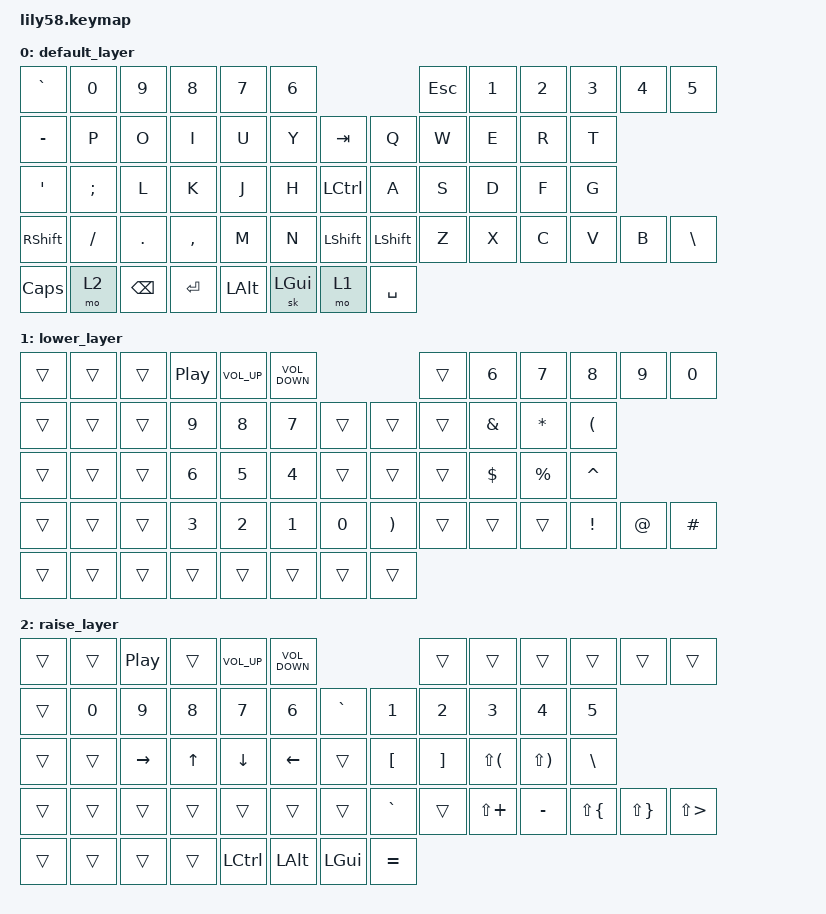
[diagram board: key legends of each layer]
/*
 * Copyright (c) 2020 The ZMK Contributors
 *
 * SPDX-License-Identifier: MIT
 */

#include <behaviors.dtsi>
#include <dt-bindings/zmk/keys.h>

/ {
    keymap {
        compatible = "zmk,keymap";

        default_layer {
            // ------------------------------------------------------------------------------------------------------------
            // |  ESC  |  1  |  2  |  3   |  4   |  5   |                   |  6   |  7    |  8    |  9   |   0   |   `   |
            // |  TAB  |  Q  |  W  |  E   |  R   |  T   |                   |  Y   |  U    |  I    |  O   |   P   |   -   |
            // |  CTRL |  A  |  S  |  D   |  F   |  G   |                   |  H   |  J    |  K    |  L   |   ;   |   '   |
            // | SHIFT |  Z  |  X  |  C   |  V   |  B   |   "["  |  |  "]"  |  N   |  M    |  ,    |  .   |   /   | SHIFT |
            //                     | ALT  | GUI  | LOWER|  SPACE |  | ENTER | RAISE| BSPC  | GUI   |

            bindings = <
                 &kp	GRAVE	&kp	N0	&kp	N9	&kp	N8	&kp	N7	&kp	N6 &kp ESC    &kp N1  &kp N2  &kp N3    &kp N4    &kp N5                 
                 &kp	MINUS	&kp	P	&kp	O	&kp	I	&kp	U	&kp	Y &kp TAB    &kp Q   &kp W   &kp E     &kp R     &kp T                  
                 &kp	SQT	&kp	SEMI	&kp	L	&kp	K	&kp	J	&kp	H &kp LCTRL  &kp A   &kp S   &kp D     &kp F     &kp G                   
                 &kp RSHFT &kp FSLH &kp DOT &kp COMMA &kp M &kp N &kp LEFT_SHIFT &kp LSHFT  &kp Z   &kp X   &kp C     &kp V     &kp B   &kp BACKSLASH  
                                &kp CAPSLOCK &mo 2 &kp BACKSPACE &kp RET &kp LALT  &sk LGUI  &mo 1   &kp SPACE   
            >;
        };

        lower_layer {
            // ------------------------------------------------------------------------------------------------------------
            // | BTCLR | BT1 | BT2 |  BT3 |  BT4 |  BT5 |                   |      |       |       |      |       |       |
            // |  F1   |  F2 |  F3 |  F4  |  F5  |  F6  |                   |  F7  |  F8   |  F9   |  F10 |  F11  |  F12  |
            // |   `   |  !  |  @  |  #   |  $   |  %   |                   |  ^   |  &    |  *    |  (   |   )   |   ~   |
            // |       |     |     |      |      |      |        |  |       |      |  _    |  +    |  {   |   }   |  "|"  |
            //                     |      |      |      |        |  |       |      |       |       |

            bindings = <
&trans &trans &trans &kp C_PLAY_PAUSE &kp C_VOLUME_UP &kp C_VOLUME_DOWN &trans  &kp NUMBER_6  &kp N7  &kp N8      &kp N9        &kp N0 
&trans &trans &trans &kp N9 &kp N8 &kp N7 &trans  &trans        &trans  &kp AMPS    &kp ASTERISK  &kp LEFT_PARENTHESIS
&trans &trans &trans &kp N6 &kp N5 &kp N4 &trans  &trans        &trans  &kp DOLLAR  &kp PERCENT   &kp CARET
&trans &trans &trans &kp N3 &kp N2 &kp N1 &kp N0 &kp RIGHT_PARENTHESIS &trans  &trans        &trans  &kp EXCL    &kp AT_SIGN   &kp HASH
&trans &trans &trans &trans &trans &trans &trans &trans
            >;
        };

        raise_layer {
            // ------------------------------------------------------------------------------------------------------------
            // |       |     |     |      |      |      |                   |      |       |       |      |       |       |
            // |   `   |  1  |  2  |  3   |  4   |  5   |                   |  6   |   7   |   8   |  9   |   0   |       |
            // |   F1  |  F2 |  F3 |  F4  |  F5  |  F6  |                   |      |   <-  |   v   |  ^   |  ->   |       |
            // |   F7  |  F8 |  F9 |  F10 |  F11 |  F12 |        |  |       |  +   |   -   |   =   |  [   |   ]   |   \   |
            //                     |      |      |      |        |  |       |      |       |       |

            bindings = <
&trans &trans &kp C_PLAY_PAUSE &trans &kp C_VOLUME_UP &kp C_VOLUME_DOWN &trans     &trans        &trans     &trans        &trans        &trans
&trans &kp N0 &kp N9 &kp N8 &kp N7 &kp N6 &kp GRAVE  &kp N1        &kp N2     &kp N3        &kp N4        &kp N5                           
&trans &trans &kp RIGHT &kp UP &kp DOWN &kp LEFT &trans     &kp LBKT      &kp RBKT   &kp LS(LPAR)  &kp LS(RPAR)  &kp BSLH                  
&trans &trans &trans &trans &trans &trans &trans &kp GRAVE &trans     &kp LS(PLUS)  &kp MINUS  &kp LS(LBRC)  &kp LS(RBRC)  &kp LS(GT)  
&trans  &trans             &trans           &trans                                    &kp LCTRL     &kp LALT      &kp LGUI    &kp EQUAL    
            >;
        };
    };
};
